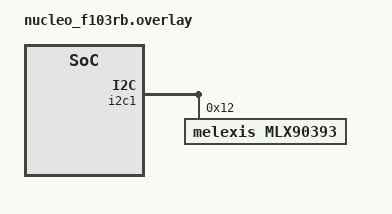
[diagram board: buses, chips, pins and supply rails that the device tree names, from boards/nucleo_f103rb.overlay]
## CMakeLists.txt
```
# Copyright (c) 2022, Stefano Cottafavi
#
# SPDX-License-Identifier: Apache-2.0

# Add the driver directory as a zephyr module by hand
list(APPEND ZEPHYR_EXTRA_MODULES
	${CMAKE_CURRENT_SOURCE_DIR}/../../drivers
)

cmake_minimum_required(VERSION 3.20.0)

# required for apps
find_package(Zephyr REQUIRED HINTS $ENV{ZEPHYR_BASE})

project(test-mlx-i2c)

zephyr_include_directories(src)

target_sources(app PRIVATE
	src/main.c
)
```

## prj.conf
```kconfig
CONFIG_STDOUT_CONSOLE=y
CONFIG_PRINTK=y
CONFIG_CBPRINTF_FP_SUPPORT=y

CONFIG_LOG=y
CONFIG_LOG_PRINTK=y
CONFIG_LOG_MODE_IMMEDIATE=y
CONFIG_LOG_BACKEND_UART=y

CONFIG_SENSOR=y
CONFIG_SENSOR_LOG_LEVEL_DBG=y

CONFIG_I2C=y
CONFIG_MLX90393=y
CONFIG_MLX90393_I2C=y
```

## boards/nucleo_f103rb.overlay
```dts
/*
 * Copyright (c) 2022, Stefano Cottafavi <stefano.cottafavi@gmail.com>
 *
 * SPDX-License-Identifier: Apache-2.0
 */

/ {

};

&i2c1 {
	mlx90393@12 {
		compatible = "melexis,mlx90393";
		reg = <0x12>;
		status = "okay";
		//interrupt-gpios = <&gpio0 6 (GPIO_ACTIVE_HIGH)>;
	};
};
```

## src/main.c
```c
/*
 * Copyright (c) 2022 Stefano Cottafavi
 *
 * SPDX-License-Identifier: Apache-2.0
 */

#include <zephyr/device.h>

#include <zephyr/drivers/gpio.h>
#include <zephyr/drivers/sensor.h>

#include "mlx90393.h"


#define SLEEP_TIME_MS   1000
#define LED0_NODE DT_ALIAS(led0)

static const struct gpio_dt_spec led = GPIO_DT_SPEC_GET(LED0_NODE, gpios);
const struct device *const mlx = DEVICE_DT_GET_ONE(melexis_mlx90393);

int main(void)
{
	int err;

	if (!device_is_ready(led.port)) {
		printk("LED is not ready\n");
		return 0;
	}

	if (!device_is_ready(mlx)) {
		printk("Magnetometer is not ready\n");
		return 0;
	}


	err = gpio_pin_configure_dt(&led, GPIO_OUTPUT_ACTIVE);
	if (err < 0) {
		return 0;
	}

	printk("Raspberry Pi Pico test\n");


	// warm reset and set burst (min is 20ms, only multiples of 20ms allowed)
	mlx90393_reset(mlx);
	mlx90393_set_mode(mlx,
		MLX90393_T | MLX90393_X | MLX90393_Y | MLX90393_Z,
		MLX90393_BURST_MODE, 100);


	struct sensor_value mag[4];

	while (1) {

		err = sensor_sample_fetch(mlx);
		if (err) {
			printk("Failed to fetch MAG (%d)\n", err);
			continue;
		}
		err = sensor_channel_get(mlx, SENSOR_CHAN_ALL, mag);
		if (err) {
			printk("Failed to get data MAG (%d)\n", err);
			continue;
		}

		printk("Values mag --- %.2f, %.2f, %.2f \n",
			sensor_value_to_double(&mag[0]),
			sensor_value_to_double(&mag[1]),
			sensor_value_to_double(&mag[2])
		);


		err = gpio_pin_toggle_dt(&led);
		if (err < 0) {
			return 0;
		}


		k_msleep(SLEEP_TIME_MS);
	}
}
```
